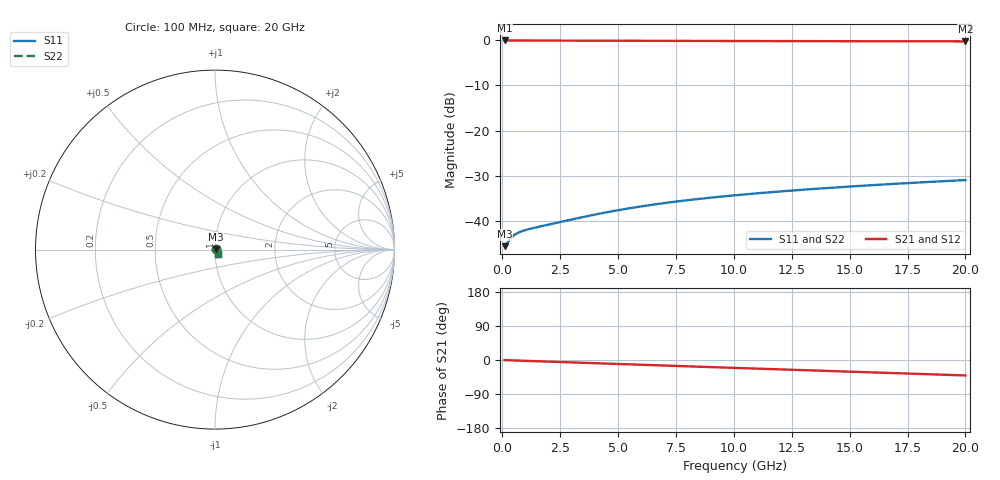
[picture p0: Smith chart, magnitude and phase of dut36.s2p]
! Touchstone file exported from HFSS 2026.1.0
!  File:  C:/ffzhzh/LocalFiles/Ansys_Project_Files/temp_train_TMRDL_36_1782880577_8056.aedt
!  Generated:  12:37:29 PM Jul  1, 2026
!  Design:  TMRDL
!  Project:  temp_train_TMRDL_36_1782880577_8056
! Variables:
!  h_bsmrdl = 2um
!  h_ox = 20um
!  h_rdl = 5um
!  h_sub = 80um
!  h_tmrdl = 4.37um
!  h_tsv = 80um
!  h_via = 3um
!  l_bsmrdl = 300um
!  l_sub = 1146.32um
!  l_tmrdl = 746.32um
!  m_sub = 200um
!  pitch = 15.31um
!  r_tsv = 6um
!  s_tmrdl = 10um
!  w_bsmrdl = 18um
!  w_sub = 500um
!  w_tmrdl = 11.86um
!  x_tsv_center1 = 752.25um
!  x_tsv_center2 = 1070.25um
!  x_tsv_center3 = 1828.43um
!  x_tsv_center4 = 2146.43um
!  x_tsv_center5 = 2904.61um
!  x_tsv_center6 = 3222.61um
# GHz S MA R 50.000000
! Terminal data exported
! Port[1] = TM_RDL1_1_T1
! Port[2] = TM_RDL1_1_T2
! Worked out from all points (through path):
!   200 points, 100 MHz to 20 GHz, reference 50 ohm
!   highest |S21| = -0.05 dB at 100 MHz (marker M1); lowest = -0.3 dB at 20 GHz (marker M2)
!   group delay of S21, straight-line fit = 5.63 ps
!   lowest |S11| = -45.6 dB at 100 MHz (marker M3), VSWR 1.01, Z = 50.5 + j0.0686 ohm
!   |S11| at or under -10 dB: start of sweep to end of sweep
!   |S22| runs from -45.6 to -31.0 dB; largest |S21 - S12| = 5.2e-15
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0.1  0.005253 7.4  0.9948 -0.2  0.9948 -0.2  0.005253 7.4
! Gamma 0 0 0 0
! Port Impedance 50 0 50 0
0.3  0.006144 14.8  0.9941 -0.7  0.9941 -0.7  0.006144 14.8
0.4  0.006572 15.7  0.9937 -0.9  0.9937 -0.9  0.006572 15.7
0.5  0.006924 15.8  0.9934 -1.1  0.9934 -1.1  0.006923 15.8
0.6  0.007205 15.6  0.9931 -1.4  0.9931 -1.4  0.007205 15.6
0.7  0.007433 15.3  0.9929 -1.6  0.9929 -1.6  0.007432 15.3
0.8  0.007621 15.1  0.9927 -1.8  0.9927 -1.8  0.00762 15.1
1  0.007926 14.7  0.9924 -2.2  0.9924 -2.2  0.007924 14.7
1.4  0.008413 14.6  0.992 -3.0  0.992 -3.0  0.008411 14.6
3.5  0.01106 13.1  0.9896 -7.5  0.9896 -7.5  0.01105 13.1
4.3  0.01217 10.7  0.9885 -9.1  0.9885 -9.1  0.01216 10.7
5.1  0.01328 7.6  0.9873 -10.8  0.9873 -10.8  0.01327 7.6
5.9  0.01435 4.0  0.9861 -12.4  0.9861 -12.4  0.01434 4.0
6.8  0.01551 -0.4  0.9848 -14.3  0.9848 -14.3  0.01549 -0.3
8.3  0.01731 -8.0  0.9827 -17.3  0.9827 -17.3  0.01727 -7.9
10.1  0.01928 -17.1  0.9803 -21.0  0.9803 -21.0  0.01923 -17.1
11.7  0.0209 -25.0  0.9785 -24.2  0.9785 -24.2  0.02084 -24.9
13.4  0.02254 -32.9  0.9767 -27.6  0.9767 -27.6  0.02245 -32.9
15  0.02401 -40.1  0.9751 -30.8  0.9751 -30.8  0.02391 -40.0
16.7  0.02553 -47.2  0.9736 -34.2  0.9736 -34.2  0.0254 -47.2
18.3  0.02691 -53.6  0.9722 -37.4  0.9722 -37.4  0.02677 -53.6
20  0.02832 -60.1  0.9708 -40.8  0.9708 -40.8  0.02817 -60.1
